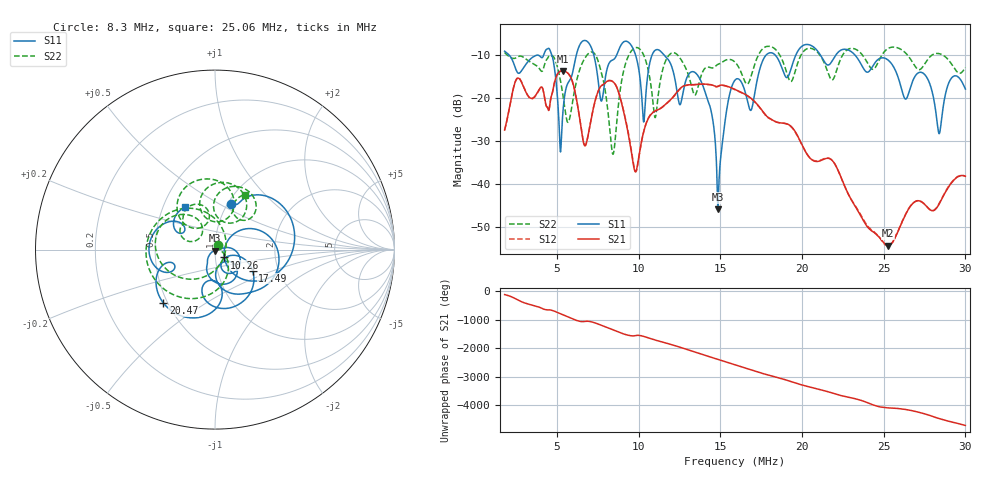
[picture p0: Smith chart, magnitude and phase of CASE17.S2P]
!Agilent Technologies,E5061B,MY49101568,A.02.00
!Date: Wed Mar 01 14:37:08 2023
!Data & Calibration Information:
!Freq	S11:SOLT2(OFF)	S21:SOLT2(OFF)	S12:SOLT2(OFF)	S22:SOLT2(OFF)
# Hz S dB R 50
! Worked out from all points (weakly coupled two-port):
!   1155 points, 1.8 MHz to 30 MHz, reference 50 ohm
!   highest |S21| = -13.75 dB at 5.343 MHz (marker M1); lowest = -54.4 dB at 25.28 MHz (marker M2)
!   lowest |S11| = -46.0 dB at 14.85 MHz (marker M3), VSWR 1.01, Z = 50 - j0.502 ohm
!   |S11| at or under -10 dB: 2.066 MHz to 4.193 MHz (2.128 MHz wide, 68 % of centre); 11.55 MHz to 17.81 MHz (6.259 MHz wide, 42.6 % of centre); 23.24 MHz to end of sweep (the widest 3 of 8)
!   |S22| runs from -33.1 to -8.0 dB; largest |S21 - S12| = 0.0027
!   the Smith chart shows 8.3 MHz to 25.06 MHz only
!   S11 on the Smith chart (normalised r, x): 8.3 MHz: 1.04, +0.57; 10.26 MHz: 1.11, -0.10; 17.49 MHz: 1.48, -0.36; 20.47 MHz: 0.47, -0.34; 25.06 MHz: 0.64, +0.33
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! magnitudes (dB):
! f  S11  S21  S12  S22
! 1.8 MHz  -9.1  -27.5  -27.5  -9.4
! 2.606 MHz  -14.2  -15.4  -15.3  -10.5
! 4.537 MHz  -8.6  -22.4  -22.3  -10.2
! 5.343 MHz  -24.6  -13.7  -13.8  -18.7
! 6.516 MHz  -7.0  -28.0  -27.7  -12.2
! 7.469 MHz  -14.3  -19.0  -19.1  -10.9
! 8.3 MHz  -11.4  -16.0  -16.0  -29.8
! 9.766 MHz  -9.5  -37.0  -36.8  -8.4
! 10.26 MHz  -23.3  -28.7  -28.8  -9.6
! 11.21 MHz  -8.8  -22.7  -22.7  -19.2
! 13.82 MHz  -16.1  -16.8  -16.8  -14.9
! 14.85 MHz  -46.0  -17.3  -17.4  -12.2
! 15.9 MHz  -15.9  -18.0  -18.1  -11.7
! 16.88 MHz  -22.9  -20.1  -20.1  -15.0
! 17.49 MHz  -12.4  -22.6  -22.7  -9.0
! 20.47 MHz  -7.7  -33.9  -33.9  -8.4
! 20.62 MHz  -7.9  -34.4  -34.4  -8.5
! 25.06 MHz  -10.8  -53.9  -54.1  -9.1
! 25.28 MHz  -11.2  -54.4  -54.5  -8.5
! 25.31 MHz  -11.3  -54.3  -54.4  -8.4
! 28.39 MHz  -28.3  -44.8  -44.6  -9.7
! 30 MHz  -17.9  -38.3  -38.2  -12.9
